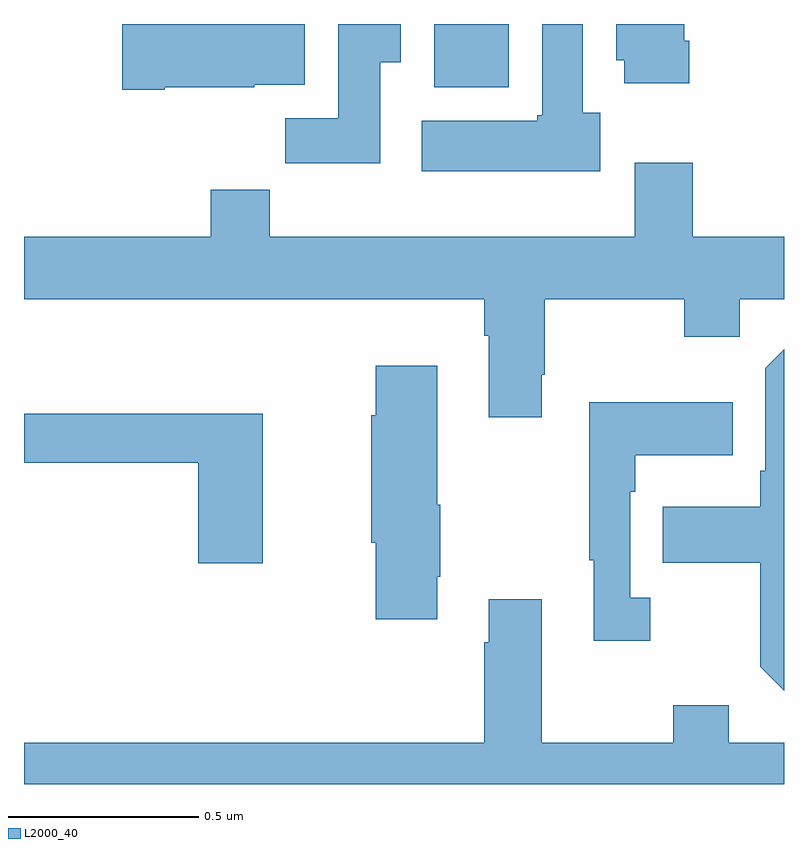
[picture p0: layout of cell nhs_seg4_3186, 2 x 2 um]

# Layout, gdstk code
import gdstk
lib = gdstk.Library(unit=1e-6, precision=1e-09)
def R(c, l, rs):  # rectangles x0, y0, x1, y1
    for r in rs: c.add(gdstk.rectangle(r[:2], r[2:], *l))
def P(c, l, *ps):  # polygons
    for p in ps: c.add(gdstk.Polygon(p, *l))
L2000_40 = (2000, 40)

nhs_seg4_3186 = lib.new_cell('nhs_seg4_3186')
R(nhs_seg4_3186, L2000_40, [(151.079,774.734,151.276,774.9)])
P(nhs_seg4_3186, L2000_40, [(151.516,774.666),(151.471,774.666),(151.471,774.9),(151.364,774.9),(151.364,774.66),(151.351,774.66),(151.351,774.646),(151.047,774.646),(151.047,774.512),(151.516,774.512)],
  [(151.751,774.856),(151.738,774.856),(151.738,774.9),(151.559,774.9),(151.559,774.804),(151.58,774.804),(151.58,774.744),(151.751,774.744)],
  [(150.937,774.8),(150.991,774.8),(150.991,774.9),(150.827,774.9),(150.827,774.652),(150.688,774.652),(150.688,774.534),(150.937,774.534)],
  [(150.37,774.734),(150.606,774.734),(150.606,774.74),(150.739,774.74),(150.739,774.9),(150.258,774.9),(150.258,774.727),(150.37,774.727)],
  [(151.363,773.977),(151.371,773.977),(151.371,774.176),(151.738,774.176),(151.738,774.077),(151.884,774.077),(151.884,774.176),(152,774.176),(152,774.34),(151.76,774.34),(151.76,774.535),(151.607,774.535),(151.607,774.34),(150.647,774.34),(150.647,774.464),(150.491,774.464),(150.491,774.34),(150,774.34),(150,774.176),(151.211,774.176),(151.211,774.08),(151.223,774.08),(151.223,773.865),(151.363,773.865)],
  [(152,774.044),(151.95,773.994),(151.95,773.725),(151.938,773.725),(151.938,773.629),(151.681,773.629),(151.681,773.482),(151.938,773.482),(151.938,773.209),(152,773.146)],
  [(151.087,773.446),(151.095,773.446),(151.095,773.635),(151.087,773.635),(151.087,774.001),(150.925,774.001),(150.925,773.871),(150.914,773.871),(150.914,773.535),(150.925,773.535),(150.925,773.334),(151.087,773.334)],
  [(151.648,773.39),(151.596,773.39),(151.596,773.669),(151.609,773.669),(151.609,773.765),(151.865,773.765),(151.865,773.905),(151.488,773.905),(151.488,773.489),(151.499,773.489),(151.499,773.277),(151.648,773.277)],
  [(150.628,773.875),(150,773.875),(150,773.746),(150.458,773.746),(150.458,773.481),(150.628,773.481)],
  [(152,773.008),(151.855,773.008),(151.855,773.107),(151.708,773.107),(151.708,773.008),(151.363,773.008),(151.363,773.386),(151.223,773.386),(151.223,773.273),(151.211,773.273),(151.211,773.008),(150,773.008),(150,772.9),(152,772.9)])

lib.write_gds('nhs_seg4_3186.gds')
